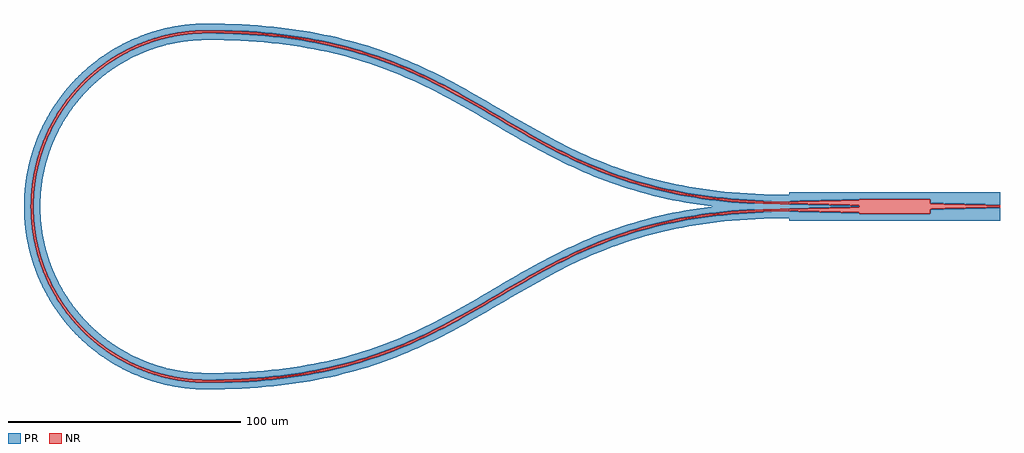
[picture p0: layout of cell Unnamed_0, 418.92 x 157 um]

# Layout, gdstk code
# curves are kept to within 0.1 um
from math import pi, radians
import gdstk
lib = gdstk.Library(unit=1e-6, precision=1e-09)
def P(c, l, *ps):  # polygons
    for p in ps: c.add(gdstk.Polygon(p, *l))
PR = (60, 0)
NR = (61, 0)

mmi1x2_w1_wt2p424_lt30__ = lib.new_cell('mmi1x2_W1_WT2p424_LT30__5b125403')
P(mmi1x2_w1_wt2p424_lt30__, PR, [(-30,-6.012),(-30,-0.5),(0,-1.212),(0,-3.012),(30.424,-3.012),(30.454,-2.761),(60.424,-2.05),(60.424,-6.012)],
  [(60.424,-1.05),(30.424,-0.338),(30.424,0.338),(60.424,1.05)],
  [(-30,0.5),(-30,6.012),(60.424,6.012),(60.424,2.05),(30.454,2.761),(30.424,3.012),(0,3.012),(0,1.212)])
P(mmi1x2_w1_wt2p424_lt30__, NR, [(0,-3.012),(0,-1.212),(-30,-0.5),(-30,0.5),(0,1.212),(0,3.012),(30.424,3.012),(30.454,2.761),(60.424,2.05),(60.424,1.05),(30.424,0.338),(30.424,-0.338),(60.424,-1.05),(60.424,-2.05),(30.454,-2.761),(30.424,-3.012)])

bend_circular_r75_a180_w = lib.new_cell('bend_circular_R75_A180_W1_B3')
P(bend_circular_r75_a180_w, PR, [(0,0.5),(0,3.5),(4.077,3.616),(7.903,3.938),(11.943,4.504),(15.944,5.3),(19.893,6.323),(23.777,7.569),(27.583,9.035),(31.3,10.715),(36.99,13.812),(42.182,17.268),(47.053,21.164),(51.566,25.47),(55.837,30.34),(59.913,35.978),(63.31,41.772),(66.24,48.082),(68.404,54.187),(70.103,60.933),(71.138,67.813),(71.5,74.76),(71.207,81.471),(70.241,88.36),(68.61,95.123),(66.419,101.473),(63.532,107.802),(60.173,113.619),(56.284,119.095),(51.897,124.183),(47.053,128.836),(42.182,132.732),(36.99,136.188),(31.3,139.285),(27.583,140.965),(23.777,142.431),(19.893,143.677),(15.944,144.7),(11.943,145.496),(7.903,146.062),(4.077,146.384),(0,146.5),(0,149.5),(0.25,149.5),(7.489,149.123),(14.657,148.044),(21.925,146.201),(28.741,143.733),(35.284,140.615),(41.494,136.875),(47.311,132.55),(50.147,130.096),(53.032,127.325),(58.023,121.729),(62.29,115.869),(65.966,109.622),(69.019,103.047),(71.418,96.207),(73.141,89.166),(74.171,81.991),(74.5,74.75),(74.123,67.511),(73.044,60.343),(71.201,53.075),(68.733,46.259),(65.615,39.716),(61.875,33.506),(57.55,27.689),(52.502,22.144),(47.311,17.45),(41.286,12.986),(35.064,9.267),(28.51,6.171),(21.686,3.726),(14.412,1.907),(7.489,0.877)],
  [(0,-3.5),(0,-0.5),(4.306,-0.377),(8.597,-0.009),(12.861,0.603),(16.836,1.401),(20.762,2.411),(24.868,3.713),(28.893,5.247),(32.823,7.008),(38.842,10.258),(44.337,13.889),(49.494,17.986),(54.451,22.699),(59.276,28.239),(63.402,34.007),(66.852,39.913),(69.945,46.576),(72.304,53.265),(74.074,60.395),(75.118,67.411),(75.5,74.747),(75.167,82.085),(74.123,89.356),(72.448,96.249),(70.135,102.954),(67.202,109.412),(63.54,115.78),(59.276,121.761),(54.626,127.118),(49.494,132.014),(44.337,136.111),(38.842,139.742),(32.823,142.992),(28.893,144.753),(24.868,146.287),(20.762,147.589),(16.836,148.599),(12.861,149.397),(8.597,150.009),(4.306,150.377),(0,150.5),(0,153.5),(0.263,153.5),(7.891,153.102),(15.444,151.966),(22.85,150.101),(30.041,147.525),(36.947,144.262),(43.722,140.197),(49.851,135.64),(55.694,130.321),(60.64,124.851),(65.343,118.503),(69.262,111.947),(72.525,105.041),(75.177,97.598),(77.068,89.927),(78.154,82.367),(78.5,74.737),(78.102,67.109),(76.966,59.556),(75.101,52.15),(72.525,44.959),(69.262,38.053),(65.197,31.278),(60.64,25.149),(55.508,19.492),(49.851,14.36),(43.722,9.803),(36.947,5.738),(30.041,2.475),(22.85,-0.101),(15.444,-1.966),(7.891,-3.102),(3.95,-3.401)])
P(bend_circular_r75_a180_w, NR, [(0,-0.5),(0,0.5),(4.249,0.621),(8.732,1.013),(13.429,1.72),(17.586,2.605),(24.066,4.494),(29.89,6.759),(36.162,9.865),(42.115,13.546),(47.696,17.769),(53.032,22.675),(57.866,28.077),(62.152,33.922),(65.733,39.936),(68.829,46.49),(71.274,53.314),(73.044,60.343),(74.123,67.511),(74.5,74.75),(74.171,81.991),(73.141,89.166),(71.418,96.207),(69.019,103.047),(65.966,109.622),(62.29,115.869),(58.023,121.729),(53.032,127.325),(47.696,132.231),(42.115,136.454),(36.162,140.135),(29.89,143.241),(24.066,145.506),(17.586,147.395),(13.429,148.28),(8.732,148.987),(4.249,149.379),(0,149.5),(0,150.5),(0.253,150.5),(7.589,150.118),(15.102,148.974),(21.977,147.231),(29.127,144.656),(35.535,141.615),(42.051,137.705),(47.946,133.322),(53.387,128.387),(58.483,122.75),(62.846,116.84),(66.615,110.535),(69.753,103.893),(72.231,96.977),(74.074,89.605),(75.143,82.337),(75.5,74.747),(75.118,67.411),(73.974,59.898),(72.231,53.023),(69.656,45.873),(66.615,39.465),(62.705,32.949),(58.322,27.054),(53.387,21.613),(47.75,16.517),(41.84,12.154),(35.535,8.385),(28.893,5.247),(21.977,2.769),(14.605,0.926),(7.337,-0.143)])

bend_s_s250_73p45049999_ = lib.new_cell('bend_s_S250_73p45049999_1ce8720e')
P(bend_s_s250_73p45049999_, PR, [(0,-3.5),(0,-0.5),(11.154,-0.297),(21.649,0.294),(31.528,1.248),(40.834,2.541),(49.61,4.146),(57.898,6.039),(65.741,8.194),(75.579,11.431),(82.549,14.098),(89.216,16.943),(95.623,19.939),(101.813,23.061),(113.711,29.579),(140.685,45.202),(148.649,49.503),(154.814,52.613),(163.373,56.557),(170.102,59.331),(177.145,61.92),(184.545,64.299),(192.346,66.442),(200.592,68.325),(209.325,69.923),(215.439,70.816),(225.081,71.882),(231.842,72.397),(242.513,72.86),(250,72.95),(250,69.95),(238.994,69.751),(228.655,69.168),(218.939,68.23),(209.801,66.961),(201.196,65.387),(190.473,62.857),(182.934,60.668),(173.467,57.407),(162.418,52.857),(156.127,49.915),(150.035,46.842),(138.27,40.396),(111.261,24.753),(103.199,20.4),(96.936,17.241),(90.443,14.205),(83.676,11.318),(76.596,8.608),(69.162,6.103),(61.334,3.831),(53.072,1.817),(44.335,0.087),(35.084,-1.332),(25.277,-2.415),(18.41,-2.939),(7.585,-3.408)],
  [(0,0.5),(0,3.5),(11.006,3.7),(21.345,4.282),(31.061,5.221),(40.199,6.49),(48.804,8.064),(59.527,10.594),(67.066,12.782),(76.533,16.044),(87.582,20.594),(93.873,23.535),(99.965,26.608),(111.73,33.054),(138.739,48.697),(146.801,53.05),(153.064,56.209),(161.781,60.226),(168.647,63.057),(175.841,65.701),(183.402,68.132),(191.37,70.321),(199.786,72.243),(208.689,73.872),(214.916,74.782),(224.723,75.866),(231.59,76.39),(242.415,76.859),(250,76.95),(250,73.95),(238.846,73.748),(228.351,73.157),(218.472,72.202),(209.166,70.91),(200.39,69.305),(192.102,67.412),(184.259,65.257),(174.421,62.02),(167.451,59.352),(160.784,56.508),(154.377,53.512),(148.187,50.39),(136.289,43.871),(109.315,28.248),(101.351,23.947),(95.186,20.838),(86.627,16.894),(79.898,14.12),(72.855,11.531),(65.455,9.152),(57.654,7.008),(49.408,5.125),(40.675,3.528),(34.561,2.634),(24.919,1.569),(18.158,1.053),(7.487,0.59)])
P(bend_s_s250_73p45049999_, NR, [(0,-0.5),(0,0.5),(11.117,0.702),(21.573,1.291),(31.411,2.241),(43.643,4.027),(52.209,5.723),(60.301,7.695),(67.964,9.92),(75.24,12.372),(82.174,15.025),(88.808,17.855),(95.186,20.838),(101.351,23.947),(113.215,30.448),(140.199,46.076),(148.187,50.39),(154.377,53.512),(162.975,57.474),(169.738,60.262),(176.819,62.865),(184.259,65.257),(192.102,67.412),(200.39,69.305),(209.166,70.91),(215.308,71.808),(224.992,72.878),(231.779,73.395),(242.489,73.86),(250,73.95),(250,72.95),(238.883,72.749),(228.427,72.16),(218.589,71.209),(206.357,69.423),(197.791,67.728),(189.699,65.755),(182.036,63.531),(174.76,61.079),(167.826,58.425),(161.192,55.595),(154.814,52.613),(148.649,49.503),(136.785,43.003),(109.801,27.374),(101.813,23.061),(95.623,19.939),(87.025,15.977),(80.262,13.188),(73.181,10.585),(65.741,8.194),(57.898,6.039),(49.61,4.146),(40.834,2.541),(34.692,1.643),(25.008,0.573),(18.221,0.055),(7.511,-0.409)])

bend_s_s250_m73p4504999_ = lib.new_cell('bend_s_S250_m73p4504999_f1047926')
P(bend_s_s250_m73p4504999_, PR, [(250,-72.95),(242.513,-72.86),(231.842,-72.397),(225.081,-71.882),(215.439,-70.816),(209.325,-69.923),(200.592,-68.325),(192.346,-66.442),(184.545,-64.299),(177.145,-61.92),(170.102,-59.331),(163.373,-56.557),(154.814,-52.613),(148.649,-49.503),(140.685,-45.202),(113.711,-29.579),(101.813,-23.061),(95.623,-19.939),(89.216,-16.943),(82.549,-14.098),(75.579,-11.431),(65.741,-8.194),(57.898,-6.039),(49.61,-4.146),(40.834,-2.541),(31.528,-1.248),(21.649,-0.294),(11.154,0.297),(0,0.5),(0,3.5),(7.585,3.408),(18.41,2.939),(25.277,2.415),(35.084,1.332),(44.335,-0.087),(53.072,-1.817),(61.334,-3.831),(69.162,-6.103),(76.596,-8.608),(83.676,-11.318),(90.443,-14.205),(96.936,-17.241),(103.199,-20.4),(111.261,-24.753),(138.27,-40.396),(150.035,-46.842),(156.127,-49.915),(162.418,-52.857),(173.467,-57.407),(182.934,-60.668),(190.473,-62.857),(201.196,-65.387),(209.801,-66.961),(218.939,-68.23),(228.655,-69.168),(238.994,-69.751),(250,-69.95)],
  [(250,-76.95),(242.415,-76.859),(231.59,-76.39),(224.723,-75.866),(214.916,-74.782),(208.689,-73.872),(199.786,-72.243),(191.37,-70.321),(183.402,-68.132),(175.841,-65.701),(168.647,-63.057),(161.781,-60.226),(153.064,-56.209),(146.801,-53.05),(138.739,-48.697),(111.73,-33.054),(99.965,-26.608),(93.873,-23.535),(87.582,-20.594),(76.533,-16.044),(67.066,-12.782),(59.527,-10.594),(48.804,-8.064),(40.199,-6.49),(31.061,-5.221),(21.345,-4.282),(11.006,-3.7),(0,-3.5),(0,-0.5),(7.487,-0.59),(18.158,-1.053),(24.919,-1.569),(34.561,-2.634),(40.675,-3.528),(49.408,-5.125),(57.654,-7.008),(65.455,-9.152),(72.855,-11.531),(79.898,-14.12),(86.627,-16.894),(95.186,-20.838),(101.351,-23.947),(109.315,-28.248),(136.289,-43.871),(148.187,-50.39),(154.377,-53.512),(160.784,-56.508),(167.451,-59.352),(174.421,-62.02),(184.259,-65.257),(192.102,-67.412),(200.39,-69.305),(209.166,-70.91),(218.472,-72.202),(228.351,-73.157),(238.846,-73.748),(250,-73.95)])
P(bend_s_s250_m73p4504999_, NR, [(250,-73.95),(242.489,-73.86),(231.779,-73.395),(224.992,-72.878),(215.308,-71.808),(209.166,-70.91),(200.39,-69.305),(192.102,-67.412),(184.259,-65.257),(176.819,-62.865),(169.738,-60.262),(162.975,-57.474),(154.377,-53.512),(148.187,-50.39),(140.199,-46.076),(113.215,-30.448),(101.351,-23.947),(95.186,-20.838),(88.808,-17.855),(82.174,-15.025),(75.24,-12.372),(67.964,-9.92),(60.301,-7.695),(52.209,-5.723),(43.643,-4.027),(31.411,-2.241),(21.573,-1.291),(11.117,-0.702),(0,-0.5),(0,0.5),(7.511,0.409),(18.221,-0.055),(25.008,-0.573),(34.692,-1.643),(40.834,-2.541),(49.61,-4.146),(57.898,-6.039),(65.741,-8.194),(73.181,-10.585),(80.262,-13.188),(87.025,-15.977),(95.623,-19.939),(101.813,-23.061),(109.801,-27.374),(136.785,-43.003),(148.649,-49.503),(154.814,-52.613),(161.192,-55.595),(167.826,-58.425),(174.76,-61.079),(182.036,-63.531),(189.699,-65.755),(197.791,-67.728),(206.357,-69.423),(218.589,-71.209),(228.427,-72.16),(238.883,-72.749),(250,-72.95)])

unnamed_0 = lib.new_cell('Unnamed_0')
unnamed_0.add(gdstk.Reference(mmi1x2_w1_wt2p424_lt30__, (15.212,0), rotation=pi))
unnamed_0.add(gdstk.Reference(bend_circular_r75_a180_w, (-295.212,75), rotation=pi))
unnamed_0.add(gdstk.Reference(bend_s_s250_73p45049999_, (-45.212,-1.55), rotation=pi))
unnamed_0.add(gdstk.Reference(bend_s_s250_m73p4504999_, (-45.212,1.55), rotation=pi))

lib.write_gds('Unnamed_0.gds')
